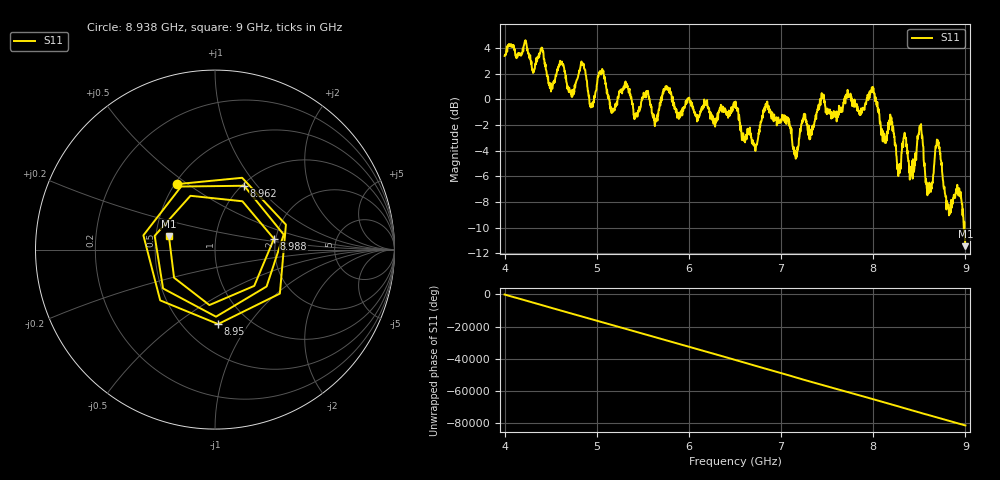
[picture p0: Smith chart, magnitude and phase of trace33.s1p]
! Created with skrf 1.8.0 (http://scikit-rf.org).
# Hz S RI R 50.0
!freq ReS11 ImS11
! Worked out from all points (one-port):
!   1601 points, 4 GHz to 9 GHz, reference 50 ohm
!   lowest |S11| = -11.4 dB at 9 GHz (marker M1), VSWR 1.73, Z = 29.3 + j4.8 ohm
!   |S11| at or under -10 dB: 8.982987 GHz to 8.985119 GHz (2.132 MHz wide, 0.0237 % of centre); 8.989424 GHz to end of sweep
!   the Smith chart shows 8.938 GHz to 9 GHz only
!   S11 on the Smith chart (normalised r, x): 8.938 GHz: 0.51, +0.46; 8.95 GHz: 0.73, -0.73; 8.962 GHz: 1.02, +0.86; 8.988 GHz: 1.95, +0.26; 9 GHz: 0.59, +0.10
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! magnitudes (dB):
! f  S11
! 4 GHz  3.4
! 4.397 GHz  4.0
! 4.5 GHz  1.3
! 4.625 GHz  2.8
! 4.731 GHz  0.7
! 4.85 GHz  2.7
! 4.944 GHz  -0.5
! 5.047 GHz  1.9
! 5.169 GHz  -1.0
! 5.25 GHz  0.6
! 5.875 GHz  -1.3
! 6.5 GHz  -0.4
! 6.709 GHz  -3.6
! 6.841 GHz  -0.3
! 7.125 GHz  -3.6
! 7.75 GHz  0.3
! 7.991 GHz  0.6
! 8.275 GHz  -5.4
! 8.375 GHz  -4.5
! 8.509 GHz  -2.1
! 8.594 GHz  -6.7
! 8.697 GHz  -3.5
! 8.816 GHz  -8.2
! 8.938 GHz  -7.5
! 8.95 GHz  -7.6
! 8.962 GHz  -8.2
! 8.988 GHz  -9.5
! 9 GHz  -11.4
